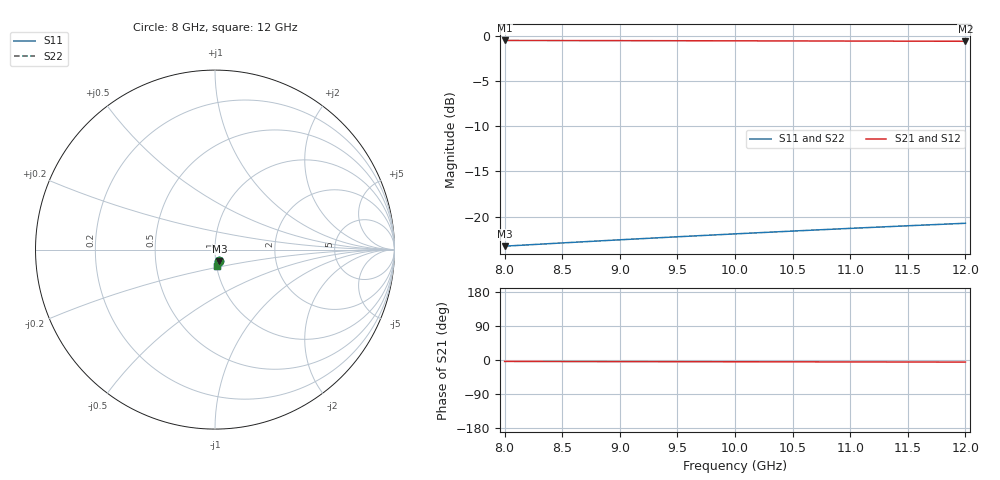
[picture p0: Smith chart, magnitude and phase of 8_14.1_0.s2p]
! Created Wed Oct 21 16:07:08 2020
# ghz S db R 50
! 2 Port Network Data from SP1.SP block
! freq  dbS11  angS11  dbS21  angS21  dbS12  angS12  dbS22  angS22
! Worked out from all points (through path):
!   9 points, 8 GHz to 12 GHz, reference 50 ohm
!   highest |S21| = -0.49 dB at 8 GHz (marker M1); lowest = -0.6 dB at 12 GHz (marker M2)
!   lowest |S11| = -23.3 dB at 8 GHz (marker M3), VSWR 1.15, Z = 52.1 - j6.71 ohm
!   |S11| at or under -10 dB: start of sweep to end of sweep
!   |S22| runs from -23.3 to -20.7 dB; largest |S21 - S12| = 3.6e-16
8  -23.27 -69.0  -0.49 -3.8  -0.49 -3.8  -23.27 -69.0
8.5  -22.91 -71.0  -0.50 -4.0  -0.50 -4.0  -22.91 -71.0
9  -22.56 -72.9  -0.51 -4.2  -0.51 -4.2  -22.56 -72.9
9.5  -22.23 -74.7  -0.52 -4.5  -0.52 -4.5  -22.23 -74.7
10  -21.91 -76.3  -0.53 -4.7  -0.53 -4.7  -21.91 -76.3
10.5  -21.60 -77.9  -0.55 -4.9  -0.55 -4.9  -21.60 -77.9
11  -21.30 -79.4  -0.56 -5.1  -0.56 -5.1  -21.30 -79.4
11.5  -21.01 -80.7  -0.57 -5.3  -0.57 -5.3  -21.01 -80.7
12  -20.73 -82.0  -0.58 -5.5  -0.58 -5.5  -20.73 -82.0
